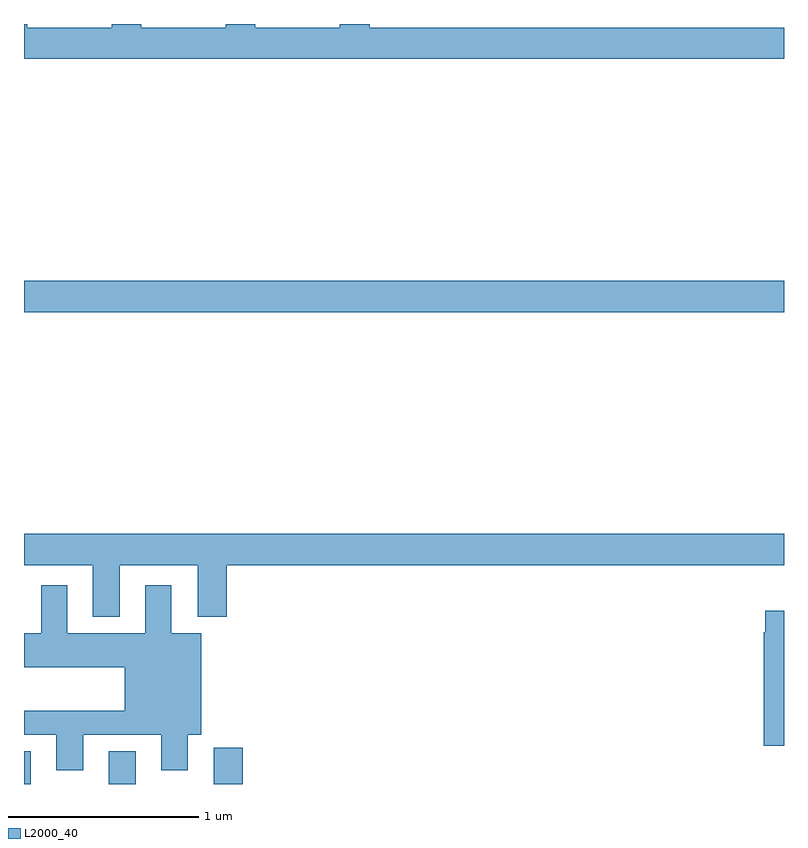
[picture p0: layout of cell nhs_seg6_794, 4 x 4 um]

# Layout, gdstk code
import gdstk
lib = gdstk.Library(unit=1e-6, precision=1e-09)
def R(c, l, rs):  # rectangles x0, y0, x1, y1
    for r in rs: c.add(gdstk.rectangle(r[:2], r[2:], *l))
def P(c, l, *ps):  # polygons
    for p in ps: c.add(gdstk.Polygon(p, *l))
L2000_40 = (2000, 40)

nhs_seg6_794 = lib.new_cell('nhs_seg6_794')
R(nhs_seg6_794, L2000_40, [(161,963.5,161.035,963.673), (161.447,963.5,161.587,963.673), (161.999,963.5,162.152,963.691), (161,965.984,165,966.148)])
P(nhs_seg6_794, L2000_40, [(165,967.48),(162.821,967.48),(162.821,967.5),(162.661,967.5),(162.661,967.48),(162.216,967.48),(162.216,967.5),(162.061,967.5),(162.061,967.48),(161.616,967.48),(161.616,967.5),(161.461,967.5),(161.461,967.48),(161.016,967.48),(161.016,967.5),(161,967.5),(161,967.316),(165,967.316)],
  [(161.503,964.652),(161.915,964.652),(161.915,964.379),(162.068,964.379),(162.068,964.652),(165,964.652),(165,964.816),(161,964.816),(161,964.652),(161.363,964.652),(161.363,964.379),(161.503,964.379)],
  [(161.311,963.758),(161.723,963.758),(161.723,963.573),(161.863,963.573),(161.863,963.758),(161.932,963.758),(161.932,964.294),(161.776,964.294),(161.776,964.546),(161.639,964.546),(161.639,964.294),(161.227,964.294),(161.227,964.546),(161.09,964.546),(161.09,964.294),(161,964.294),(161,964.115),(161.531,964.115),(161.531,963.886),(161,963.886),(161,963.758),(161.171,963.758),(161.171,963.573),(161.311,963.573)],
  [(165,964.411),(164.901,964.411),(164.901,964.298),(164.893,964.298),(164.893,963.701),(165,963.701)])

lib.write_gds('nhs_seg6_794.gds')
